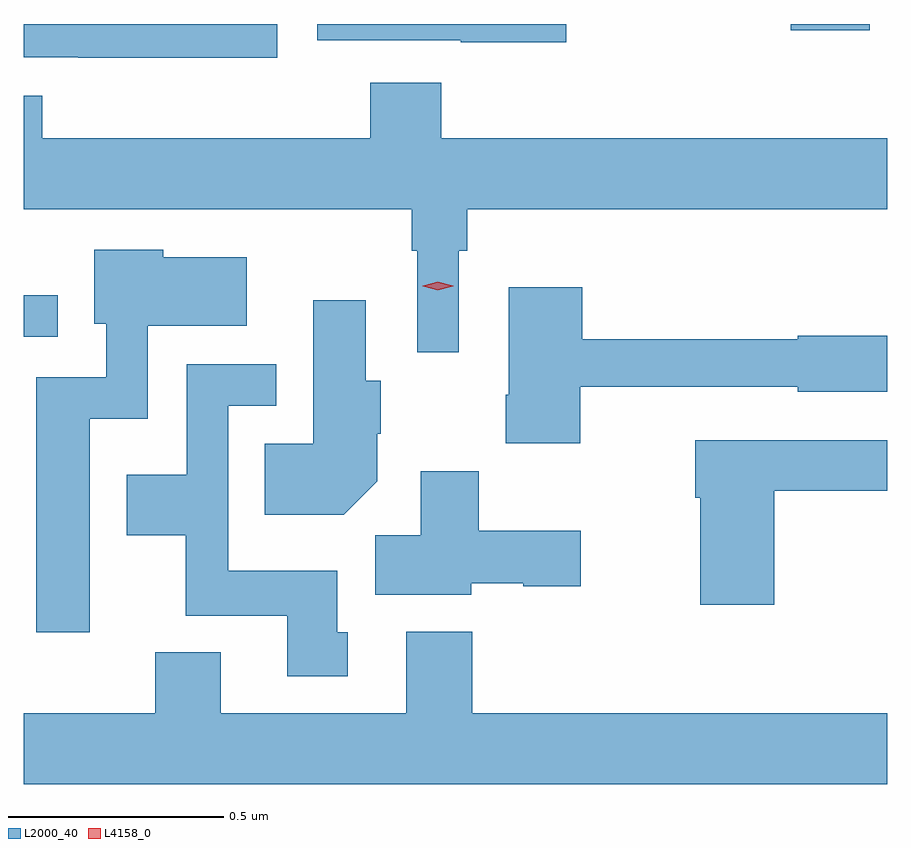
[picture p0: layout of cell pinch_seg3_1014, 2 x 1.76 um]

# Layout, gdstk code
import gdstk
lib = gdstk.Library(unit=1e-6, precision=1e-09)
def R(c, l, rs):  # rectangles x0, y0, x1, y1
    for r in rs: c.add(gdstk.rectangle(r[:2], r[2:], *l))
def P(c, l, *ps):  # polygons
    for p in ps: c.add(gdstk.Polygon(p, *l))
L2000_40 = (2000, 40)
L4158_0 = (4158, 0)

pinch_seg3_1014 = lib.new_cell('pinch_seg3_1014')
R(pinch_seg3_1014, L2000_40, [(397.987,692.628,398.065,692.725), (399.764,693.339,399.947,693.353)])
P(pinch_seg3_1014, L2000_40, [(399.244,693.353),(398.667,693.353),(398.667,693.315),(398.999,693.315),(398.999,693.311),(399.244,693.311)],
  [(398.574,693.353),(397.987,693.353),(397.987,693.276),(398.113,693.276),(398.113,693.275),(398.574,693.275)],
  [(398.954,693.217),(398.789,693.217),(398.789,693.088),(398.03,693.088),(398.03,693.187),(397.987,693.187),(397.987,692.924),(398.886,692.924),(398.886,692.828),(398.898,692.828),(398.898,692.592),(398.994,692.592),(398.994,692.828),(399.014,692.828),(399.014,692.924),(399.987,692.924),(399.987,693.088),(398.954,693.088)],
  [(398.14,692.438),(398.274,692.438),(398.274,692.654),(398.503,692.654),(398.503,692.812),(398.31,692.812),(398.31,692.83),(398.15,692.83),(398.15,692.658),(398.178,692.658),(398.178,692.535),(398.015,692.535),(398.015,691.944),(398.14,691.944)],
  [(399.276,692.513),(399.78,692.513),(399.78,692.501),(399.987,692.501),(399.987,692.631),(399.78,692.631),(399.78,692.623),(399.281,692.623),(399.281,692.743),(399.11,692.743),(399.11,692.494),(399.103,692.494),(399.103,692.382),(399.276,692.382)],
  [(398.806,692.294),(398.806,692.404),(398.814,692.404),(398.814,692.526),(398.779,692.526),(398.779,692.713),(398.657,692.713),(398.657,692.38),(398.545,692.38),(398.545,692.216),(398.728,692.216)],
  [(398.737,691.944),(398.713,691.944),(398.713,692.086),(398.46,692.086),(398.46,692.469),(398.572,692.469),(398.572,692.565),(398.364,692.565),(398.364,692.308),(398.225,692.308),(398.225,692.168),(398.362,692.168),(398.362,691.982),(398.597,691.982),(398.597,691.842),(398.737,691.842)],
  [(399.725,692.272),(399.987,692.272),(399.987,692.388),(399.542,692.388),(399.542,692.255),(399.554,692.255),(399.554,692.007),(399.725,692.007)],
  [(399.024,692.057),(399.144,692.057),(399.144,692.05),(399.277,692.05),(399.277,692.179),(399.041,692.179),(399.041,692.317),(398.906,692.317),(398.906,692.168),(398.801,692.168),(398.801,692.03),(399.024,692.03)],
  [(399.987,691.756),(399.026,691.756),(399.026,691.945),(398.873,691.945),(398.873,691.756),(398.443,691.756),(398.443,691.897),(398.291,691.897),(398.291,691.756),(397.987,691.756),(397.987,691.592),(399.987,691.592)])
P(pinch_seg3_1014, L4158_0, [(398.946,692.736),(398.911,692.745),(398.911,692.746),(398.911,692.746),(398.946,692.756),(398.982,692.746),(398.982,692.746),(398.982,692.745)])

lib.write_gds('pinch_seg3_1014.gds')
